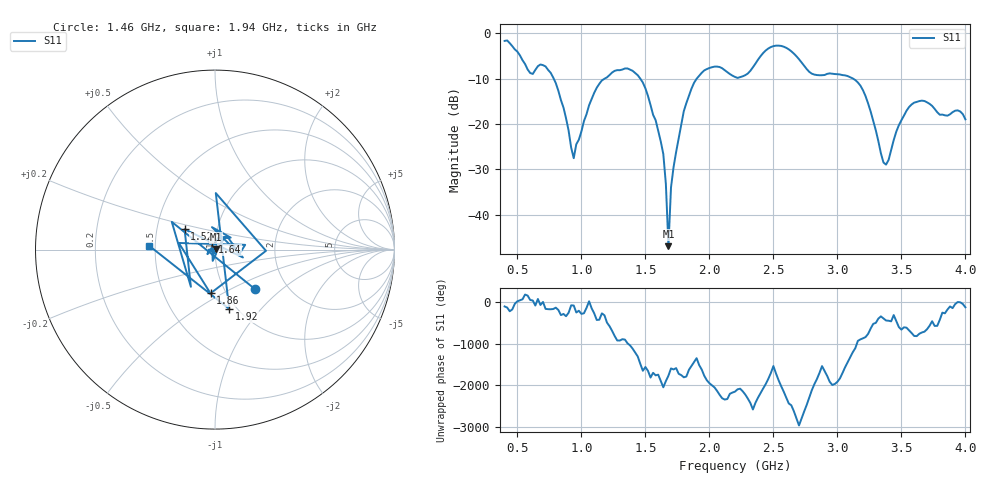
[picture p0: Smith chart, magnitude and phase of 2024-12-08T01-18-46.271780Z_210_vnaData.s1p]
!Created with skrf (http://scikit-rf.org).
# Hz S RI R 50.0
!freq ReS11 ImS11
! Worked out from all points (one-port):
!   181 points, 400 MHz to 4 GHz, reference 50 ohm
!   lowest |S11| = -46.9 dB at 1.68 GHz (marker M1), VSWR 1.01, Z = 50.4 + j0.223 ohm
!   |S11| at or under -10 dB: 783.7 MHz to 1.182 GHz (398.1 MHz wide, 40.5 % of centre); 1.46 GHz to 1.901 GHz (441 MHz wide, 26.2 % of centre); 3.122 GHz to end of sweep
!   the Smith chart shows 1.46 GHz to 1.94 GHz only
!   S11 on the Smith chart (normalised r, x): 1.46 GHz: 1.38, -0.68; 1.52 GHz: 0.69, +0.16; 1.64 GHz: 0.96, +0.08; 1.86 GHz: 0.85, -0.44; 1.92 GHz: 0.92, -0.69; 1.94 GHz: 0.46, +0.02
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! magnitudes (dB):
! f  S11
! 400 MHz  -1.7
! 600 MHz  -8.8
! 720 MHz  -7.3
! 860 MHz  -16.4
! 940 MHz  -27.5
! 1.12 GHz  -12.0
! 1.3 GHz  -8.1
! 1.46 GHz  -10.0
! 1.52 GHz  -13.8
! 1.64 GHz  -26.6
! 1.66 GHz  -33.3
! 1.68 GHz  -46.9
! 1.7 GHz  -34.0
! 1.76 GHz  -23.1
! 1.86 GHz  -12.2
! 1.92 GHz  -9.4
! 1.94 GHz  -8.7
! 2.06 GHz  -7.3
! 2.2 GHz  -9.6
! 2.48 GHz  -3.0
! 2.66 GHz  -4.5
! 2.8 GHz  -8.9
! 3.1 GHz  -9.7
! 3.22 GHz  -13.9
! 3.38 GHz  -29.0
! 3.56 GHz  -16.3
! 3.68 GHz  -14.9
! 4 GHz  -19.0
